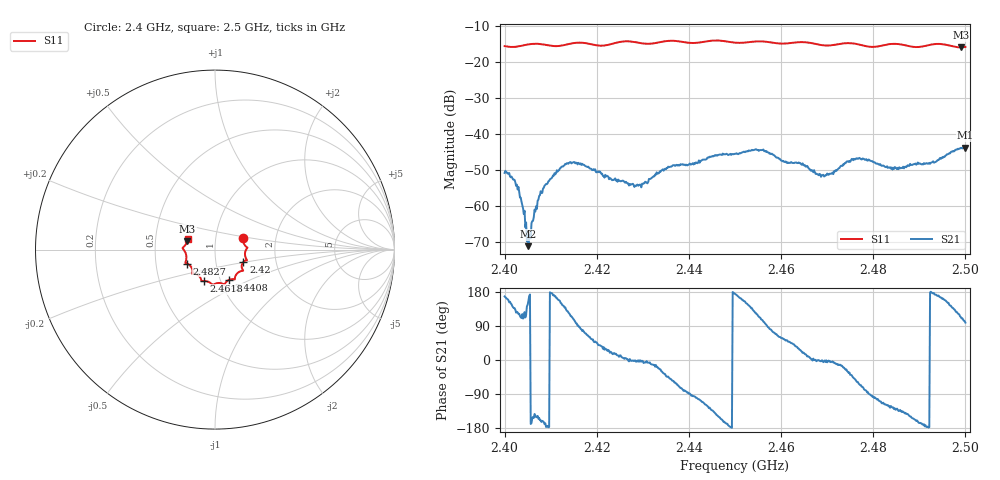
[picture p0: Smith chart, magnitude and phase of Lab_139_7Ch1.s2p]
# Hz S RI R 50
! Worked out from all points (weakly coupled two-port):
!   601 points, 2.4 GHz to 2.5 GHz, reference 50 ohm
!   highest |S21| = -43.71 dB at 2.5 GHz (marker M1); lowest = -71.1 dB at 2.4052 GHz (marker M2)
!   lowest |S11| = -15.8 dB at 2.499 GHz (marker M3), VSWR 1.39, Z = 36.5 + j3.52 ohm
!   |S11| at or under -10 dB: start of sweep to end of sweep
!   S12 and S22 are empty: the file has one direction only
!   S11 on the Smith chart (normalised r, x): 2.4 GHz: 1.36, +0.17; 2.42 GHz: 1.36, -0.19; 2.4408 GHz: 1.10, -0.38; 2.4618 GHz: 0.84, -0.30; 2.4827 GHz: 0.72, -0.12; 2.5 GHz: 0.73, +0.09
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2.4e9  0.1562 0.0623  -0.00283 0.000613  0 0  0 0
2.402667e9  0.1628 0.0299  -0.0012 0.00158  0 0  0 0
2.405167e9  0.1775 0.0137  -0.000253 0.000113  0 0  0 0
2.407333e9  0.1806 0.0101  -0.00111 -0.000521  0 0  0 0
2.408833e9  0.1755 0.00372  -0.00192 -0.000444  0 0  0 0
2.413167e9  0.1701 -0.0427  -0.00291 0.00256  0 0  0 0
2.416667e9  0.1782 -0.0594  0.000588 0.00369  0 0  0 0
2.42e9  0.1579 -0.0693  0.00205 0.00212  0 0  0 0
2.428667e9  0.1476 -0.1191  0.00196 -0.000134  0 0  0 0
2.433333e9  0.112 -0.1522  0.00265 -0.00107  0 0  0 0
2.440833e9  0.0787 -0.1686  -0.000367 -0.00394  0 0  0 0
2.45e9  0.0278 -0.1859  -0.00533 0.00049  0 0  0 0
2.456e9  -0.0145 -0.195  -0.00151 0.00585  0 0  0 0
2.461833e9  -0.06 -0.1752  0.00266 0.00296  0 0  0 0
2.466667e9  -0.0769 -0.1683  0.00317 7.67e-05  0 0  0 0
2.469833e9  -0.0936 -0.1436  0.00269 -4.78e-05  0 0  0 0
2.476667e9  -0.1256 -0.127  0.00239 -0.00387  0 0  0 0
2.482667e9  -0.1573 -0.0778  -0.00159 -0.00313  0 0  0 0
2.483333e9  -0.1614 -0.0764  -0.00184 -0.00291  0 0  0 0
2.492833e9  -0.1777 0.00363  -0.00408 0.000254  0 0  0 0
2.499e9  -0.1544 0.047  -0.00257 0.00593  0 0  0 0
2.5e9  -0.1518 0.0617  -0.000989 0.00645  0 0  0 0
